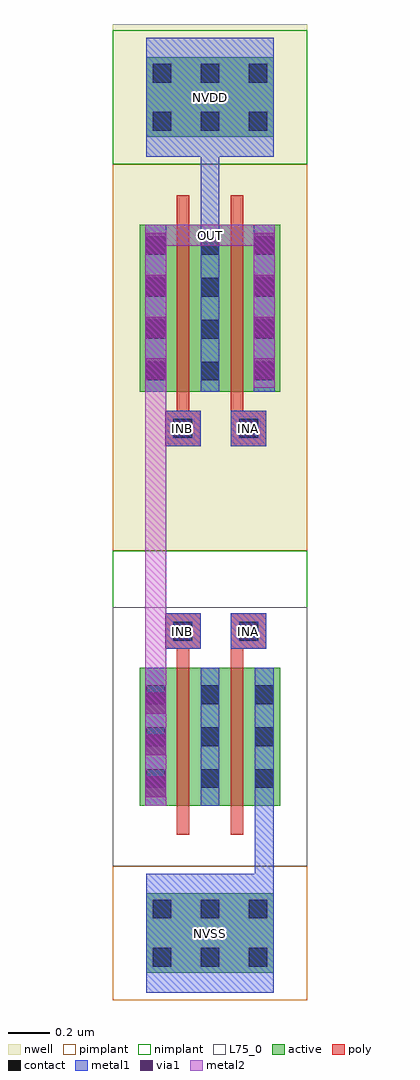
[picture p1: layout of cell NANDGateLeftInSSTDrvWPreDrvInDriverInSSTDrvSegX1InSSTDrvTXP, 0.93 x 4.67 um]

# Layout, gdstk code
import gdstk
lib = gdstk.Library(unit=1e-6, precision=1e-09)
def R(c, l, rs):  # rectangles x0, y0, x1, y1
    for r in rs: c.add(gdstk.rectangle(r[:2], r[2:], *l))
def A(c, l, x, y, w, h, nx, ny, dx, dy):  # array of equal rectangles
    R(c, l, [(x+i*dx, y+j*dy, x+i*dx+w, y+j*dy+h) for i in range(nx) for j in range(ny)])
nwell = (3, 0)
active = (6, 0)
poly = (17, 0)
pimplant = (25, 0)
nimplant = (26, 0)
contact = (30, 0)
metal1 = (31, 0)
metal2 = (32, 0)
via1 = (51, 0)
L75_0 = (75, 0)

pmosinnandgateleftinsstd = lib.new_cell('PMOSInNANDGateLeftInSSTDrvWPreDrvInDriverInSSTDrvSegX1InSSTDrvTXP')
R(pmosinnandgateleftinsstd, active, [(-0.335,-0.4,0.335,0.4)])
R(pmosinnandgateleftinsstd, poly, [(-0.16,-0.54,-0.1,0.54), (0.1,-0.54,0.16,0.54)])
R(pmosinnandgateleftinsstd, pimplant, [(-0.465,-0.69,0.465,0.69)])
A(pmosinnandgateleftinsstd, contact, -0.305, -0.345, 0.09, 0.09, 3, 4, 0.26, 0.2)
A(pmosinnandgateleftinsstd, metal1, -0.305, -0.4, 0.09, 0.8, 3, 1, 0.26, 0)

nmosinnandgateleftinsstd = lib.new_cell('NMOSInNANDGateLeftInSSTDrvWPreDrvInDriverInSSTDrvSegX1InSSTDrvTXP')
R(nmosinnandgateleftinsstd, active, [(-0.335,-0.33,0.335,0.33)])
R(nmosinnandgateleftinsstd, poly, [(-0.16,-0.47,-0.1,0.47), (0.1,-0.47,0.16,0.47)])
R(nmosinnandgateleftinsstd, nimplant, [(-0.465,-0.62,0.465,0.62)])
A(nmosinnandgateleftinsstd, contact, -0.305, -0.245, 0.09, 0.09, 3, 3, 0.26, 0.2)
A(nmosinnandgateleftinsstd, metal1, -0.305, -0.33, 0.09, 0.66, 3, 1, 0.26, 0)
R(nmosinnandgateleftinsstd, L75_0, [(-0.465,-0.62,0.465,0.62)])

m1_nod_cdns_565693715657 = lib.new_cell('M1_NOD_CDNS_565693715657')
R(m1_nod_cdns_565693715657, active, [(-0.305,-0.19,0.305,0.19)])
R(m1_nod_cdns_565693715657, nimplant, [(-0.435,-0.32,0.435,0.32)])
A(m1_nod_cdns_565693715657, contact, -0.275, -0.16, 0.09, 0.09, 3, 2, 0.23, 0.23)
R(m1_nod_cdns_565693715657, metal1, [(-0.305,-0.285,0.305,0.285)])

m2_m1_cdns_565693715658 = lib.new_cell('M2_M1_CDNS_565693715658')
R(m2_m1_cdns_565693715658, metal1, [(-0.05,-0.39,0.05,0.39)])
R(m2_m1_cdns_565693715658, metal2, [(-0.05,-0.39,0.05,0.39)])
A(m2_m1_cdns_565693715658, via1, -0.05, -0.35, 0.1, 0.1, 1, 4, 0, 0.2)

m1_po_cdns_565693715656 = lib.new_cell('M1_PO_CDNS_565693715656')
R(m1_po_cdns_565693715656, poly, [(-0.085,-0.085,0.085,0.085)])
R(m1_po_cdns_565693715656, contact, [(-0.045,-0.045,0.045,0.045)])
R(m1_po_cdns_565693715656, metal1, [(-0.085,-0.085,0.085,0.085)])

m2_m1_cdns_565693715655 = lib.new_cell('M2_M1_CDNS_565693715655')
R(m2_m1_cdns_565693715655, metal1, [(-0.05,-0.29,0.05,0.29)])
R(m2_m1_cdns_565693715655, metal2, [(-0.05,-0.29,0.05,0.29)])
A(m2_m1_cdns_565693715655, via1, -0.05, -0.25, 0.1, 0.1, 1, 3, 0, 0.2)

m1_pod_cdns_565693715659 = lib.new_cell('M1_POD_CDNS_565693715659')
R(m1_pod_cdns_565693715659, active, [(-0.305,-0.19,0.305,0.19)])
R(m1_pod_cdns_565693715659, pimplant, [(-0.435,-0.32,0.435,0.32)])
A(m1_pod_cdns_565693715659, contact, -0.275, -0.16, 0.09, 0.09, 3, 2, 0.23, 0.23)
R(m1_pod_cdns_565693715659, metal1, [(-0.305,-0.285,0.305,0.285)])

nandgateleftinsstdrvwpre = lib.new_cell('NANDGateLeftInSSTDrvWPreDrvInDriverInSSTDrvSegX1InSSTDrvTXP')
R(nandgateleftinsstdrvwpre, nwell, [(-0.465,1.83,0.465,4.35)])
R(nandgateleftinsstdrvwpre, poly, [(-0.215,1.36,-0.045,1.53), (0.1,1.36,0.27,1.53), (-0.215,2.33,-0.045,2.5), (0.1,2.33,0.27,2.5)])
R(nandgateleftinsstdrvwpre, pimplant, [(-0.465,-0.32,0.465,0.32), (-0.465,1.83,0.465,3.68)])
R(nandgateleftinsstdrvwpre, nimplant, [(-0.465,0.32,0.465,1.83), (-0.465,3.68,0.465,4.32)])
R(nandgateleftinsstdrvwpre, metal1, [(-0.31,0.61,-0.21,1.27), (-0.045,0.61,0.045,1.27), (-0.31,2.59,-0.21,3.39), (0.21,2.59,0.31,3.39)])
nandgateleftinsstdrvwpre.add(gdstk.FlexPath([(0.26,-0.285),(0.26,1.27)], 0.09, ends="flush", simple_path=True, layer=31, datatype=0))  # metal1
nandgateleftinsstdrvwpre.add(gdstk.FlexPath([(0,4.285),(0,2.59)], 0.09, ends="flush", simple_path=True, layer=31, datatype=0))  # metal1
nandgateleftinsstdrvwpre.add(gdstk.FlexPath([(-0.13,2.99),(-0.13,2.415)], 0.06, ends="flush", simple_path=True, layer=17, datatype=0))  # poly
nandgateleftinsstdrvwpre.add(gdstk.FlexPath([(0.13,0.94),(0.13,1.445)], 0.06, ends="flush", simple_path=True, layer=17, datatype=0))  # poly
nandgateleftinsstdrvwpre.add(gdstk.FlexPath([(0.13,2.99),(0.13,2.415)], 0.06, ends="flush", simple_path=True, layer=17, datatype=0))  # poly
nandgateleftinsstdrvwpre.add(gdstk.FlexPath([(-0.13,0.94),(-0.13,1.445)], 0.06, ends="flush", simple_path=True, layer=17, datatype=0))  # poly
nandgateleftinsstdrvwpre.add(gdstk.FlexPath([(-0.31,3.34),(0.31,3.34)], 0.1, ends="flush", simple_path=True, layer=32, datatype=0))  # metal2
nandgateleftinsstdrvwpre.add(gdstk.FlexPath([(-0.26,3.39),(-0.26,1.19)], 0.1, ends="flush", simple_path=True, layer=32, datatype=0))  # metal2
nandgateleftinsstdrvwpre.add(gdstk.FlexPath([(-0.31,1.14),(-0.21,1.14)], 0.1, ends="flush", simple_path=True, layer=32, datatype=0))  # metal2
nandgateleftinsstdrvwpre.add(gdstk.Reference(pmosinnandgateleftinsstd, (0,2.99)))
nandgateleftinsstdrvwpre.add(gdstk.Reference(nmosinnandgateleftinsstd, (0,0.94)))
nandgateleftinsstdrvwpre.add(gdstk.Reference(m1_nod_cdns_565693715657, (0,4)))
nandgateleftinsstdrvwpre.add(gdstk.Reference(m2_m1_cdns_565693715658, (-0.26,3)))
nandgateleftinsstdrvwpre.add(gdstk.Reference(m2_m1_cdns_565693715658, (0.26,3)))
nandgateleftinsstdrvwpre.add(gdstk.Reference(m1_po_cdns_565693715656, (0.185,1.445)))
nandgateleftinsstdrvwpre.add(gdstk.Reference(m1_po_cdns_565693715656, (-0.13,1.445)))
nandgateleftinsstdrvwpre.add(gdstk.Reference(m1_po_cdns_565693715656, (-0.13,2.415)))
nandgateleftinsstdrvwpre.add(gdstk.Reference(m1_po_cdns_565693715656, (0.185,2.415)))
nandgateleftinsstdrvwpre.add(gdstk.Reference(m2_m1_cdns_565693715655, (-0.26,0.9)))
nandgateleftinsstdrvwpre.add(gdstk.Reference(m1_pod_cdns_565693715659, (0,0)))
nandgateleftinsstdrvwpre.add(gdstk.Label('NVDD', (0,4), layer=131, texttype=0))
nandgateleftinsstdrvwpre.add(gdstk.Label('INB', (-0.13,1.445), layer=131, texttype=0))
nandgateleftinsstdrvwpre.add(gdstk.Label('INB', (-0.13,2.415), layer=131, texttype=0))
nandgateleftinsstdrvwpre.add(gdstk.Label('INA', (0.185,1.445), layer=131, texttype=0))
nandgateleftinsstdrvwpre.add(gdstk.Label('INA', (0.185,2.415), layer=131, texttype=0))
nandgateleftinsstdrvwpre.add(gdstk.Label('NVSS', (0,0), layer=131, texttype=0))
nandgateleftinsstdrvwpre.add(gdstk.Label('OUT', (0,3.34), layer=132, texttype=0))

lib.write_gds('NANDGateLeftInSSTDrvWPreDrvInDriverInSSTDrvSegX1InSSTDrvTXP.gds')
